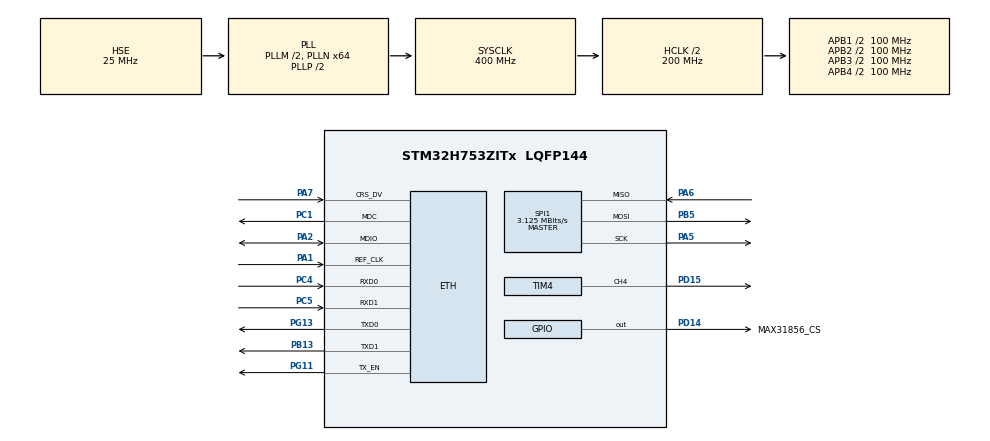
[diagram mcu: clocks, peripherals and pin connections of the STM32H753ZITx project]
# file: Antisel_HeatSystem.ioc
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ETH.MediaInterface=HAL_ETH_RMII_MODE
IWDG1.Prescaler=IWDG_PRESCALER_256
IWDG1.Reload=249
LWIP.BSP.number=1
LWIP.IP_ADDRESS=192.168.001.101
LWIP.LWIP_DHCP=0
LWIP.NETMASK_ADDRESS=255.255.255.000
LWIP.Version=v2.2.1_Cube
LWIP0.BSP.STBoard=false
LWIP0.BSP.api=BSP_COMPONENT_DRIVER
LWIP0.BSP.component=LAN8742
LWIP0.BSP.instance=LAN8742
LWIP0.BSP.name=Driver_PHY
LWIP0.BSP.semaphore=S_LAN8742
LWIP0.BSP.solution=LAN8742
Mcu.Family=STM32H7
Mcu.Name=STM32H753ZITx
Mcu.Package=LQFP144
NVIC.PriorityGroup=NVIC_PRIORITYGROUP_4
PA1.Mode=RMII
PA1.PinAttribute=CortexM7
PA1.Signal=ETH_REF_CLK
PA2.Mode=RMII
PA2.PinAttribute=CortexM7
PA2.Signal=ETH_MDIO
PA5.Mode=Full_Duplex_Master
PA5.PinAttribute=CortexM7
PA5.Signal=SPI1_SCK
PA6.Mode=Full_Duplex_Master
PA6.PinAttribute=CortexM7
PA6.Signal=SPI1_MISO
PA7.Mode=RMII
PA7.PinAttribute=CortexM7
PA7.Signal=ETH_CRS_DV
PB13.Mode=RMII
PB13.PinAttribute=CortexM7
PB13.Signal=ETH_TXD1
PB5.Mode=Full_Duplex_Master
PB5.PinAttribute=CortexM7
PB5.Signal=SPI1_MOSI
PD15.PinAttribute=CortexM7
PD15.Signal=S_TIM4_CH4
PC1.Mode=RMII
PC1.PinAttribute=CortexM7
PC1.Signal=ETH_MDC
PC14-OSC32_IN\ (OSC32_IN).PinAttribute=Free
PC14-OSC32_IN\ (OSC32_IN).Signal=RCC_OSC32_IN
PC15-OSC32_OUT\ (OSC32_OUT).PinAttribute=Free
PC15-OSC32_OUT\ (OSC32_OUT).Signal=RCC_OSC32_OUT
PC4.Mode=RMII
PC4.PinAttribute=CortexM7
PC4.Signal=ETH_RXD0
PC5.Mode=RMII
PC5.PinAttribute=CortexM7
PC5.Signal=ETH_RXD1
PD8.Signal=USART3_TX
PD9.Signal=USART3_RX
PD14.GPIO_Label=MAX31856_CS
PD14.PinState=GPIO_PIN_SET
PD14.PinAttribute=CortexM7
PD14.Signal=GPIO_Output
PG11.Mode=RMII
PG11.PinAttribute=CortexM7
PG11.Signal=ETH_TX_EN
PG13.Mode=RMII
PG13.PinAttribute=CortexM7
PG13.Signal=ETH_TXD0
PH0-OSC_IN\ (PH0).Mode=HSE-External-Clock-Source
PH0-OSC_IN\ (PH0).PinAttribute=Free
PH0-OSC_IN\ (PH0).Signal=RCC_OSC_IN
PH1-OSC_OUT\ (PH1).PinAttribute=Free
PH1-OSC_OUT\ (PH1).Signal=RCC_OSC_OUT
ProjectManager.HeapSize=0x200
ProjectManager.StackSize=0x400
ProjectManager.TargetToolchain=STM32CubeIDE
RCC.ADCFreq_Value=50390625
RCC.APB1Freq_Value=100000000
RCC.APB2Freq_Value=100000000
RCC.APB3Freq_Value=100000000
RCC.APB4Freq_Value=100000000
RCC.CortexFreq_Value=400000000
RCC.D1PPRE=RCC_APB3_DIV2
RCC.D2PPRE1=RCC_APB1_DIV2
RCC.D2PPRE2=RCC_APB2_DIV2
RCC.D3PPRE=RCC_APB4_DIV2
RCC.DIVM1=2
RCC.DIVN1=64
RCC.DIVQ1=4
RCC.HCLKFreq_Value=200000000
RCC.HPRE=RCC_HCLK_DIV2
RCC.HSE_VALUE=25000000
RCC.PLLFRACN=0
RCC.PLLSourceVirtual=RCC_PLLSOURCE_HSE
RCC.SYSCLKFreq_VALUE=400000000
RCC.SYSCLKSource=RCC_SYSCLKSOURCE_PLLCLK
RCC.SupplySource=PWR_LDO_SUPPLY
RCC.USBFreq_Value=200000000
SH.S_TIM4_CH4.0=TIM4_CH4,PWM Generation4 CH4
SPI1.BaudRatePrescaler=SPI_BAUDRATEPRESCALER_64
SPI1.CLKPhase=SPI_PHASE_2EDGE
SPI1.CalculateBaudRate=3.125 MBits/s
SPI1.DataSize=SPI_DATASIZE_8BIT
SPI1.Direction=SPI_DIRECTION_2LINES
SPI1.Mode=SPI_MODE_MASTER
SPI1.VirtualType=VM_MASTER
TIM4.Channel-PWM\ Generation4\ CH4=TIM_CHANNEL_4
VP_IWDG1_VS_IWDG.Mode=IWDG_Activate
VP_LWIP_VS_Enabled.Mode=Enabled
VP_NUCLEO-H753ZI_VS_BSP_COMMON.Mode=COMMON
board=NUCLEO-H753ZI

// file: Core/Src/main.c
/* USER CODE BEGIN Header */
/**
  ******************************************************************************
  * @file           : main.c
  * @brief          : Main program body
  ******************************************************************************
  * @attention
  *
  * Copyright (c) 2026 STMicroelectronics.
  * All rights reserved.
  *
  * This software is licensed under terms that can be found in the LICENSE file
  * in the root directory of this software component.
  * If no LICENSE file comes with this software, it is provided AS-IS.
  *
  ******************************************************************************
  */
/* USER CODE END Header */
#include "main.h"
#include "iwdg.h"
#include "lwip.h"
#include "spi.h"
#include "tim.h"
#include "gpio.h"

/* USER CODE BEGIN Includes */
#include "heater_ctrl.h"
#include "rtu_protocol.h"
/* USER CODE END Includes */

/* USER CODE BEGIN PD */

/* DUAL_CORE_BOOT_SYNC_SEQUENCE: Define for dual core boot synchronization    */
/*                             demonstration code based on hardware semaphore */
/* This define is present in both CM7/CM4 projects                            */
/* To comment when developping/debugging on a single core                     */
#define DUAL_CORE_BOOT_SYNC_SEQUENCE

#if defined(DUAL_CORE_BOOT_SYNC_SEQUENCE)
#ifndef HSEM_ID_0
#define HSEM_ID_0 (0U) /* HW semaphore 0*/
#endif
#endif /* DUAL_CORE_BOOT_SYNC_SEQUENCE */

/* USER CODE END PD */

void SystemClock_Config(void);
/* USER CODE BEGIN PFP */
void SystemClock_Config_480MHz(void);
/* USER CODE END PFP */

int main(void)
{

  /* MCU Configuration--------------------------------------------------------*/

  /* Reset of all peripherals, Initializes the Flash interface and the Systick. */
  HAL_Init();

  /* Configure the system clock */
  SystemClock_Config_480MHz();

  /* Initialize all configured peripherals */
  MX_GPIO_Init();
  MX_TIM4_Init();
  MX_LWIP_Init();
  MX_SPI1_Init();
  /* USER CODE BEGIN 2 */
  BSP_LED_Init(LED_GREEN);
  Heater_Init();
  RTU_Init();

  /* IWDG1 avviato qui, dopo tutte le init lente (LWIP/BSP): se partisse
   * prima di MX_LWIP_Init() il timeout (~2s) puo' scadere durante
   * l'autonegoziazione del PHY Ethernet, causando un reset loop
   * (vedi docs/Mappatura_Pin_HeatSystem.md). */
  MX_IWDG1_Init();
  /* USER CODE END 2 */

  /* Infinite loop */
  /* USER CODE BEGIN WHILE */
  while (1)
  {
    HAL_IWDG_Refresh(&hiwdg1);

    /* Elabora RX Ethernet + timer LwIP (nessun RTOS: va chiamata a polling
     * dal loop principale, altrimenti lo stack di rete non processa mai
     * nulla e nessuna connessione TCP puo' funzionare). */
    MX_LWIP_Process();

    /* Poll RTD, PID, safety check, watchdog di disconnessione, PWM */
    Heater_Service();

    /* Heartbeat: LED verde lampeggia ogni 500 ms se il loop gira */
    static uint32_t last_blink = 0;
    if (HAL_GetTick() - last_blink >= 500U)
    {
      last_blink = HAL_GetTick();
      BSP_LED_Toggle(LED_GREEN);
    }
    /* USER CODE END WHILE */

  }
}

void SystemClock_Config(void)
{
  RCC_OscInitTypeDef RCC_OscInitStruct = {0};
  RCC_ClkInitTypeDef RCC_ClkInitStruct = {0};

  /** Supply configuration update enable
  */
  HAL_PWREx_ConfigSupply(PWR_LDO_SUPPLY);

  /** Configure the main internal regulator output voltage
  */
  __HAL_PWR_VOLTAGESCALING_CONFIG(PWR_REGULATOR_VOLTAGE_SCALE1);

  while(!__HAL_PWR_GET_FLAG(PWR_FLAG_VOSRDY)) {}

  /** Initializes the RCC Oscillators according to the specified parameters
  * in the RCC_OscInitTypeDef structure.
  */
  RCC_OscInitStruct.OscillatorType = RCC_OSCILLATORTYPE_LSI|RCC_OSCILLATORTYPE_HSE;
  RCC_OscInitStruct.HSEState = RCC_HSE_BYPASS;
  RCC_OscInitStruct.LSIState = RCC_LSI_ON;
  RCC_OscInitStruct.PLL.PLLState = RCC_PLL_ON;
  RCC_OscInitStruct.PLL.PLLSource = RCC_PLLSOURCE_HSE;
  RCC_OscInitStruct.PLL.PLLM = 2;
  RCC_OscInitStruct.PLL.PLLN = 64;
  RCC_OscInitStruct.PLL.PLLP = 2;
  RCC_OscInitStruct.PLL.PLLQ = 4;
  RCC_OscInitStruct.PLL.PLLR = 2;
  RCC_OscInitStruct.PLL.PLLRGE = RCC_PLL1VCIRANGE_3;
  RCC_OscInitStruct.PLL.PLLVCOSEL = RCC_PLL1VCOWIDE;
  RCC_OscInitStruct.PLL.PLLFRACN = 0;
  if (HAL_RCC_OscConfig(&RCC_OscInitStruct) != HAL_OK)
  {
    Error_Handler();
  }

  /** Initializes the CPU, AHB and APB buses clocks
  */
  RCC_ClkInitStruct.ClockType = RCC_CLOCKTYPE_HCLK|RCC_CLOCKTYPE_SYSCLK
                              |RCC_CLOCKTYPE_PCLK1|RCC_CLOCKTYPE_PCLK2
                              |RCC_CLOCKTYPE_D3PCLK1|RCC_CLOCKTYPE_D1PCLK1;
  RCC_ClkInitStruct.SYSCLKSource = RCC_SYSCLKSOURCE_PLLCLK;
  RCC_ClkInitStruct.SYSCLKDivider = RCC_SYSCLK_DIV1;
  RCC_ClkInitStruct.AHBCLKDivider = RCC_HCLK_DIV2;
  RCC_ClkInitStruct.APB3CLKDivider = RCC_APB3_DIV2;
  RCC_ClkInitStruct.APB1CLKDivider = RCC_APB1_DIV2;
  RCC_ClkInitStruct.APB2CLKDivider = RCC_APB2_DIV2;
  RCC_ClkInitStruct.APB4CLKDivider = RCC_APB4_DIV2;

  if (HAL_RCC_ClockConfig(&RCC_ClkInitStruct, FLASH_LATENCY_2) != HAL_OK)
  {
    Error_Handler();
  }
}

/* USER CODE BEGIN 4 */

/**
 * @brief  SystemClock a 480 MHz — protetta dalla rigenerazione CubeMX.
 *         HSE = 8 MHz (MCO ST-LINK, BYPASS), PLL1: M=4 N=480 P=2
 *         SYSCLK = 480 MHz, AHB = 240 MHz, APBx = 120 MHz
 *         Voltage Scale 0 richiesto per 480 MHz su STM32H753.
 *         Flash Latency 4 WS obbligatoria a 480 MHz.
 * @retval None
 */
void SystemClock_Config_480MHz(void) {
  RCC_OscInitTypeDef RCC_OscInitStruct = {0};
  RCC_ClkInitTypeDef RCC_ClkInitStruct = {0};

  HAL_PWREx_ConfigSupply(PWR_LDO_SUPPLY);

  __HAL_PWR_VOLTAGESCALING_CONFIG(PWR_REGULATOR_VOLTAGE_SCALE0);
  while (!__HAL_PWR_GET_FLAG(PWR_FLAG_VOSRDY)) {
  }

  /* HSE = MCO del ST-LINK: al power-on a freddo l'uscita del probe puo'
   * non essere ancora stabile nell'istante in cui la PLL ci si aggancia
   * (HSERDY in bypass non verifica la qualita' del segnale). Margine
   * prima dell'aggancio + un paio di tentativi come rete di sicurezza. */
  HAL_Delay(50);

  RCC_OscInitStruct.OscillatorType = RCC_OSCILLATORTYPE_HSE;
  RCC_OscInitStruct.HSEState = RCC_HSE_BYPASS;
  RCC_OscInitStruct.PLL.PLLState = RCC_PLL_ON;
  RCC_OscInitStruct.PLL.PLLSource = RCC_PLLSOURCE_HSE;
  RCC_OscInitStruct.PLL.PLLM = 4;
  RCC_OscInitStruct.PLL.PLLN = 480;
  RCC_OscInitStruct.PLL.PLLP = 2;
  RCC_OscInitStruct.PLL.PLLQ = 10;
  RCC_OscInitStruct.PLL.PLLR = 2;
  RCC_OscInitStruct.PLL.PLLRGE = RCC_PLL1VCIRANGE_1;
  RCC_OscInitStruct.PLL.PLLVCOSEL = RCC_PLL1VCOWIDE;
  RCC_OscInitStruct.PLL.PLLFRACN = 0;
  {
    uint32_t attempts_left = 3;
    HAL_StatusTypeDef osc_status;
    do {
      osc_status = HAL_RCC_OscConfig(&RCC_OscInitStruct);
      if (osc_status == HAL_OK) {
        break;
      }
      HAL_Delay(50);
    } while (--attempts_left > 0);
    if (osc_status != HAL_OK) {
      Error_Handler();
    }
  }

  RCC_ClkInitStruct.ClockType = RCC_CLOCKTYPE_HCLK | RCC_CLOCKTYPE_SYSCLK |
                                RCC_CLOCKTYPE_PCLK1 | RCC_CLOCKTYPE_PCLK2 |
                                RCC_CLOCKTYPE_D3PCLK1 | RCC_CLOCKTYPE_D1PCLK1;
  RCC_ClkInitStruct.SYSCLKSource = RCC_SYSCLKSOURCE_PLLCLK;
  RCC_ClkInitStruct.SYSCLKDivider = RCC_SYSCLK_DIV1;
  RCC_ClkInitStruct.AHBCLKDivider = RCC_HCLK_DIV2;
  RCC_ClkInitStruct.APB3CLKDivider = RCC_APB3_DIV2;
  RCC_ClkInitStruct.APB1CLKDivider = RCC_APB1_DIV2;
  RCC_ClkInitStruct.APB2CLKDivider = RCC_APB2_DIV2;
  RCC_ClkInitStruct.APB4CLKDivider = RCC_APB4_DIV2;
  if (HAL_RCC_ClockConfig(&RCC_ClkInitStruct, FLASH_LATENCY_4) != HAL_OK) {
    Error_Handler();
  }
}

/* USER CODE END 4 */

void Error_Handler(void)
{
  __disable_irq();
  while (1)
  {
  }
}
